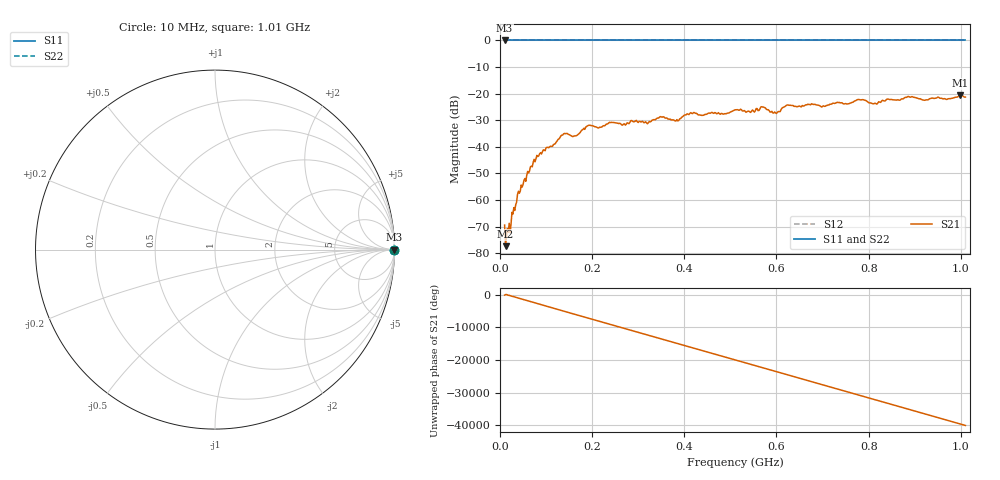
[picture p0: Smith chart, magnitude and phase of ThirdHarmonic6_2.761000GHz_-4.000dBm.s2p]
! 8/17/2025 6:57:54 AM
! C:\ANRITSUVNA\TEMP\TEMP.S2P
! CHANNEL.1
! TR.MEASUREMENT
! RAW.DATA
! RF.CORRECTION.OFF
! AVERAGING.OFF
! IF.BANDWIDTH: 5KHZ
! SWEEPTYPE:  FREQ.SWEEP(Linear)
! Reference Plane Port Info
! PORT:  PORT1  PORT2
! DISTANCE:  0  m  0  m
! TIME:  0  s  0  s
! PHASE.OFFSET:  0  deg.  0  deg.
! LOSS:  0  dB  0  dB
! REF.LOSS:  0  dB  0  dB
! REF.FREQ:  0  Hz  0  Hz
! Power Info
! POWER:  -20  dBm  -20  dBm
! EFF.POWER:  -20  dBm  -20  dBm
! SOURCE.ATTEN:  0  dB  0  dB
! TEST.ATTEN:  0  dB  0  dB
# GHZ S RI R 50.0
! FREQ.GHZ  S11RE  S11IM  S21RE  S21IM  S12RE  S12IM  S22RE  S22IM
!; PortSelection: Port_12
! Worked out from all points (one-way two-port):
!   501 points, 10 MHz to 1.01 GHz, reference 50 ohm
!   highest |S21| = -20.68 dB at 998 MHz (marker M1); lowest = -77.4 dB at 12 MHz (marker M2)
!   lowest |S11| = 0.0 dB at 10 MHz (marker M3)
!   |S11| at or under -10 dB: nowhere
!   |S22| runs from 0.0 to 0.0 dB; largest |S21 - S12| = 1.1
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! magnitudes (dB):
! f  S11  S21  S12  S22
! 10 MHz  0.0  -69.4  0.0  0.0
! 12 MHz  0.0  -77.4  0.0  0.0
! 18 MHz  0.0  -72.2  0.0  0.0
! 42 MHz  0.0  -57.5  0.0  0.0
! 76 MHz  0.0  -45.6  0.0  0.0
! 136 MHz  0.0  -35.6  0.0  0.0
! 162 MHz  0.0  -35.9  0.0  0.0
! 178 MHz  0.0  -33.7  0.0  0.0
! 194 MHz  0.0  -31.9  0.0  0.0
! 322 MHz  0.0  -30.9  0.0  0.0
! 344 MHz  0.0  -29.2  0.0  0.0
! 384 MHz  0.0  -29.7  0.0  0.0
! 416 MHz  0.0  -27.4  0.0  0.0
! 510 MHz  0.0  -26.1  0.0  0.0
! 570 MHz  0.0  -25.0  0.0  0.0
! 596 MHz  0.0  -26.9  0.0  0.0
! 624 MHz  0.0  -24.3  0.0  0.0
! 678 MHz  0.0  -23.9  0.0  0.0
! 814 MHz  0.0  -23.6  0.0  0.0
! 844 MHz  0.0  -22.1  0.0  0.0
! 998 MHz  0.0  -20.7  0.0  0.0
! 1.01 GHz  0.0  -21.3  0.0  0.0
